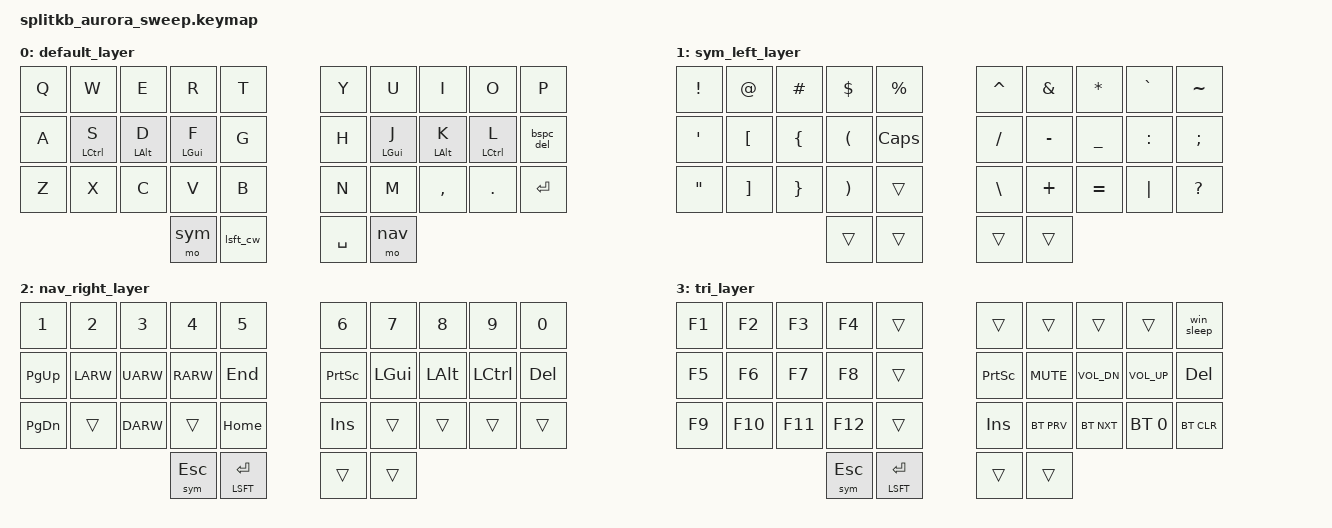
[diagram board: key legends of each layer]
/*
 * Copyright (c) 2022 The ZMK Contributors
 *
 * SPDX-License-Identifier: MIT
 */

#include <behaviors.dtsi>
#include <dt-bindings/zmk/keys.h>
#include <dt-bindings/zmk/bt.h>


#define base 0
#define sym 1
#define nav 2
#define tri 3

&mt {
    flavor = "tap-preferred";
    tapping_term_ms = <280>;
};


/ {
    conditional_layers {
        compatible = "zmk,conditional-layers";
        tri_layer {
            if-layers = <sym nav>;
            then-layer = <tri>;
        };
    };
};

/ {
    behaviors {
        bspc_del: backspace_delete {
            compatible = "zmk,behavior-mod-morph";
            label = "BACKSPACE_DELETE";
            #binding-cells = <0>;
            bindings = <&kp BSPC>, <&kp DEL>;
            mods = <(MOD_LSFT|MOD_RSFT)>;
        };

        lsft_cw: lshift_capsword {
            compatible = "zmk,behavior-tap-dance";
            label = "LSHIFT_CAPSWORD";
            #binding-cells = <0>;
            tapping-term-ms = <200>;
            bindings = <&kp LSFT>, <&caps_word>;
        };
    };
};

/ {
    macros {
        win_sleep: win_sleep {
            compatible = "zmk,behavior-macro";
            label = "WIN_SLEEP";
            #binding-cells = <0>;
            bindings
                = <&macro_press &kp LGUI>
                , <&macro_tap &kp X>
                , <&macro_release &kp LGUI>
                , <&macro_tap &kp U>
                , <&macro_tap &kp S>
                ;
        };
    };
};

/ {

    combos {
        compatible = "zmk,combos";
        combo_esc {
            timeout-ms = <50>;
            key-positions = <0 1>;
            bindings = <&kp ESC>;
        };

        // combo_tab {
        //    timeout-ms = <50>;
        //    key-positions = <10 11>;
        //    bindings = <&kp TAB>;
        //};

        combo_ralt {
            timeout-ms = <50>;
            key-positions = <17 16>;
            bindings = <&kp RALT>;
        };

        combo_tab {
            timeout-ms = <25>;
            key-positions = <10 11>;
            bindings = <&kp TAB>;
        };

        combo_lgui {
            timeout-ms = <50>;
            key-positions = <12 13>;
            bindings = <&kp LGUI>;
        };

       combo_rgui {
            timeout-ms = <50>;
            key-positions = <17 18>;
            bindings = <&kp RGUI>;
        };

       combo_undo {
            timeout-ms = <50>;
            key-positions = <20 21>;
            bindings = <&kp LC(Z)>;
        };
    };

    keymap {
        compatible = "zmk,keymap";
        default_layer {
            bindings = <
        //╭──────────┬──────────┬──────────┬──────────┬──────────╮   ╭──────────┬──────────┬──────────┬──────────┬──────────╮
        //│  Q       │  W       │  E       │  R       │  T       │   │  Y       │  U       │  I       │  O       │  P       │
            &kp Q      &kp W      &kp E      &kp R      &kp T          &kp Y      &kp U      &kp I      &kp O      &kp P
        //├──────────┼──────────┼──────────┼──────────┼──────────┤   ├──────────┼──────────┼──────────┼──────────┼──────────┤
        //│  A       │  S       │  D       │  F       │  G       │   │  H       │  J       │  K       │  L       │BACKSPACE │
           &kp A      &mt LCTRL S &mt LALT D &mt LGUI F &kp G         &kp H    &mt LGUI J &mt LALT K &mt LCTRL L  &bspc_del
        //├──────────┼──────────┼──────────┼──────────┼──────────┤   ├──────────┼──────────┼──────────┼──────────┼──────────┤
        //│  Z       │  X       │  C       │  V       │  B       │   │  N       │  M       │ , <      │ . >      │ ENTER    │
            &kp Z      &kp X      &kp C      &kp V      &kp B          &kp N      &kp M      &kp COMMA  &kp DOT    &kp ENTER
        //╰──────────┴──────────┴──────────┼──────────┼──────────┤   ├──────────┼──────────┼──────────┴──────────┴──────────╯
                                           &mo sym     &lsft_cw       &kp SPACE  &mo nav 
        //                                 ╰──────────┴──────────╯   ╰──────────┴──────────╯
            >;
        };

        sym_left_layer {
            bindings = <
        //╭──────────┬──────────┬──────────┬──────────┬──────────╮   ╭──────────┬──────────┬──────────┬──────────┬──────────╮
        //│  !       │  @       │  #       │  $       │  %       │   │  ^       │  &       │  *       │  `       │  ~       │
            &kp EXCL   &kp AT     &kp HASH   &kp DLLR   &kp PRCNT      &kp CARET  &kp AMPS   &kp ASTRK  &kp GRAVE   &kp TILDE
        //├──────────┼──────────┼──────────┼──────────┼──────────┤   ├──────────┼──────────┼──────────┼──────────┼──────────┤
        //│  '       │  [       │  {       │  (       │   CAPS   │   │   /      │  -       │  _       │     :    │  ;       │
            &kp SQT  &kp LBKT   &kp LBRC   &kp LPAR   &kp CAPS         &kp FSLH   &kp MINUS  &kp UNDER  &kp COLON   &kp SEMI
        //├──────────┼──────────┼──────────┼──────────┼──────────┤   ├──────────┼──────────┼──────────┼──────────┼──────────┤
        //│  "       │  ]       │  }       │  )       │          │   │    \     │    +     │  =       │  │       │   ?      │
            &kp DQT     &kp RBKT   &kp RBRC   &kp RPAR   &trans         &kp BSLH   &kp PLUS  &kp EQUAL   &kp PIPE  &kp QMARK
        //╰──────────┴──────────┴──────────┼──────────┼──────────┤   ├──────────┼──────────┼──────────┴──────────┴──────────╯
                                             &trans     &trans         &trans     &trans
        //                                 ╰──────────┴──────────╯   ╰──────────┴──────────╯
            >; 
        };

        nav_right_layer {
            bindings = <
        //╭──────────┬──────────┬──────────┬──────────┬──────────╮   ╭──────────┬──────────┬──────────┬──────────┬──────────╮
        //│ 1        │  2       │  3       │  4       │  5       │   │ 6        │ 7        │ 8        │ 9        │   0      │
            &kp N1    &kp N2     &kp N3     &kp N4     &kp N5          &kp N6     &kp N7     &kp N8     &kp N9      &kp N0
        //├──────────┼──────────┼──────────┼──────────┼──────────┤   ├──────────┼──────────┼──────────┼──────────┼──────────┤
        //│   PG UP  │ LEFT     │   UP     │ RIGHT    │   END    |   |          │    GUI   │   ALT    │  CTRL    │ DELETE   │
            &kp PG_UP  &kp LARW   &kp UARW    &kp RARW   &kp END     &kp PSCRN    &kp LGUI  &kp LALT   &kp LCTRL  &kp DEL 
        //├──────────┼──────────┼──────────┼──────────┼──────────┤   ├──────────┼──────────┼──────────┼──────────┼──────────┤
        //│ PG DOWN  │          │ DOWN     │          │    HOME  │   │  INSERT  │          │          │          │          │
            &kp PG_DN  &trans    &kp DARW   &trans     &kp HOME        &kp INS     &trans   &trans      &trans     &trans 
        //╰──────────┴──────────┴──────────┼──────────┼──────────┤   ├──────────┼──────────┼──────────┴──────────┴──────────╯
                                          &lt sym ESC &mt LSFT ENTER    &trans     &trans
        //                                 ╰──────────┴──────────╯   ╰──────────┴──────────╯
            >;
        };

        tri_layer {
            bindings = <
        //╭──────────┬──────────┬──────────┬──────────┬──────────╮   ╭──────────┬──────────┬────────────┬────────────┬──────────╮
        //│ F1       │  F2      │  F3      │  F4      │          │   │          │          │            │            │ SLEEP    │
            &kp F1    &kp F2     &kp F3     &kp F4     &trans           &trans     &trans       &trans     &trans     &win_sleep
        //├──────────┼──────────┼──────────┼──────────┼──────────┤   ├──────────┼──────────┼────────────┼────────────┼──────────┤
        //│   F5     │   F6     │ F7       │   F8     │          |   |          │          │            │            │ DELETE   │
            &kp F5    &kp F6      &kp F7     &kp F8    &trans         &kp PSCRN &kp C_MUTE &kp C_VOL_DN  &kp C_VOL_UP  &kp DEL 
        //├──────────┼──────────┼──────────┼──────────┼──────────┤   ├──────────┼──────────┼────────────┼────────────┼──────────┤
        //│ F9       │   F10    │ F11      │   F12    │          │   │  INSERT  │          │            │            │          │
            &kp F9      &kp F10   &kp F11    &kp F12  &trans         &kp INS     &bt BT_PRV  &bt BT_NXT  &bt BT_SEL 0  &bt BT_CLR
        //╰──────────┴──────────┴──────────┼──────────┼──────────┤   ├──────────┼──────────┼────────────┴────────────┴──────────╯
                                          &lt sym ESC &mt LSFT ENTER    &trans     &trans
        //                                 ╰──────────┴──────────╯   ╰──────────┴──────────╯
                       >;
        };

    };
};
